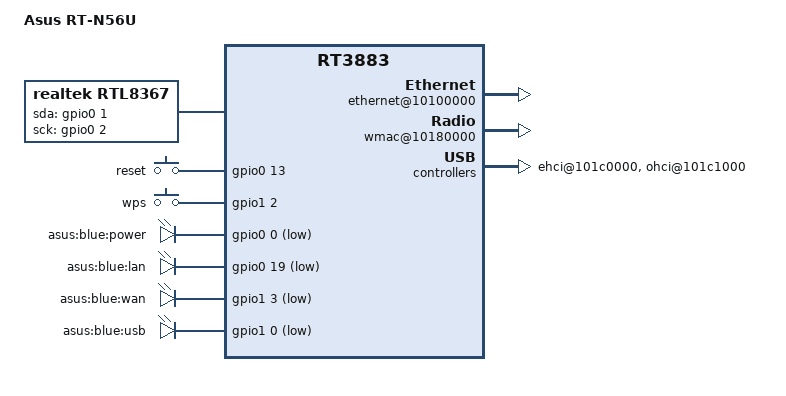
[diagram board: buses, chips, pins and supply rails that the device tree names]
/dts-v1/;

/include/ "rt3883.dtsi"

/ {
	#address-cells = <1>;
	#size-cells = <1>;
	compatible = "RT-N56U", "ralink,rt3883-soc";
	model = "Asus RT-N56U";

	memorydetect {
		ralink,memory = <0x0 0x200000 0x10000000>;
	};

	palmbus@10000000 {
		sysc@0 {
			ralink,pinmux = "uartlite", "spi";
			ralink,gpiomux = "i2c", "jtag";
			ralink,uartmux = "gpio";
			ralink,wdtmux = <0>;
		};

		timer@100 {
			status = "okay";
		};

		gpio0: gpio@600 {
			status = "okay";
		};

		gpio1: gpio@638 {
			status = "okay";
		};
	};

	ethernet@10100000 {
		status = "okay";

		ralink,fixed-link = <1000 1 1 1>;
	};

	wmac@10180000 {
		status = "okay";
		ralink,2ghz = <0>;
	};

	ehci@101c0000 {
		status = "okay";
	};

	ohci@101c1000 {
		status = "okay";
	};

	rtl8367 {
		compatible = "realtek,rtl8367";
		gpio-sda = <&gpio0 1 0>;
		gpio-sck = <&gpio0 2 0>;
		realtek,extif1 = <1 0 1 1 1 1 1 1 2>;
	};

	gpio-keys-polled {
		compatible = "gpio-keys-polled";
		#address-cells = <1>;
		#size-cells = <0>;
		poll-interval = <100>;
		reset {
			label = "reset";
			gpios = <&gpio0 13 0>;
			linux,code = <0x198>;
		};
		wps {
			label = "wps";
			gpios = <&gpio1 2 0>;
			linux,code = <0x211>;
		};
	};

	gpio-leds {
		compatible = "gpio-leds";

		power {
			label = "asus:blue:power";
			gpios = <&gpio0 0 1>;
		};
		lan {
			label = "asus:blue:lan";
			gpios = <&gpio0 19 1>;
		};
		wan {
			label = "asus:blue:wan";
			gpios = <&gpio1 3 1>;
		};
		usb {
			label = "asus:blue:usb";
			gpios = <&gpio1 0 1>;
		};
	};
};
